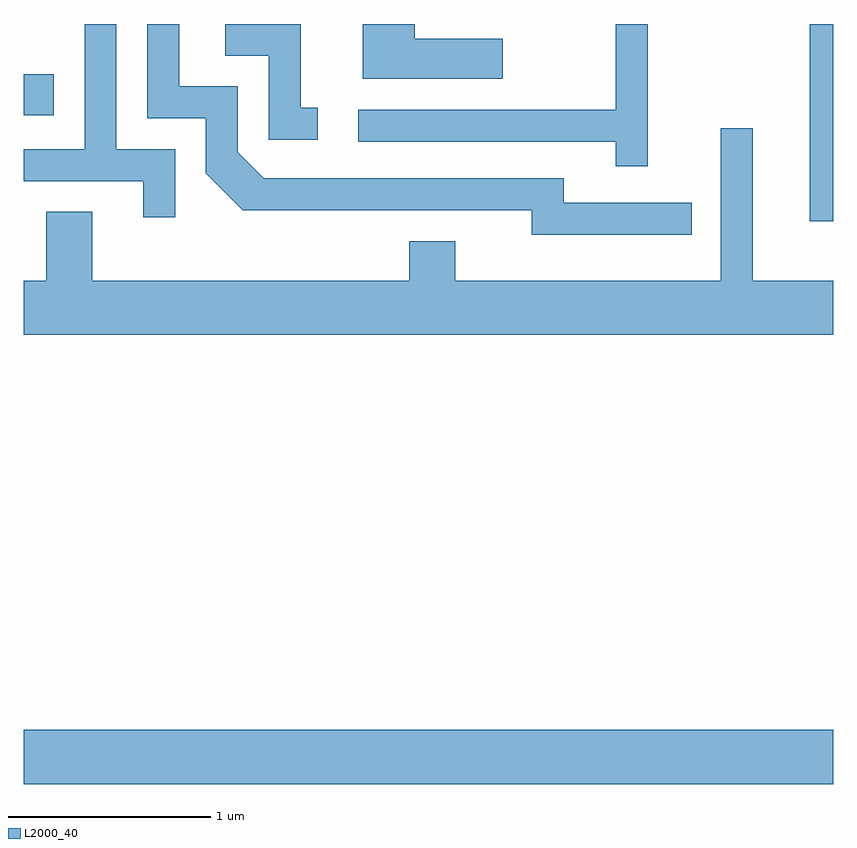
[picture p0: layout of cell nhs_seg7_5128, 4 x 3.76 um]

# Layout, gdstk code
import gdstk
lib = gdstk.Library(unit=1e-6, precision=1e-09)
def R(c, l, rs):  # rectangles x0, y0, x1, y1
    for r in rs: c.add(gdstk.rectangle(r[:2], r[2:], *l))
def P(c, l, *ps):  # polygons
    for p in ps: c.add(gdstk.Polygon(p, *l))
L2000_40 = (2000, 40)

nhs_seg7_5128 = lib.new_cell('nhs_seg7_5128')
R(nhs_seg7_5128, L2000_40, [(341.611,1756.496,345.611,1756.764), (345.496,1759.276,345.611,1760.252), (341.611,1759.801,341.759,1760.004)])
P(nhs_seg7_5128, L2000_40, [(343.063,1759.839),(342.979,1759.839),(342.979,1760.252),(342.606,1760.252),(342.606,1760.096),(342.821,1760.096),(342.821,1759.681),(343.063,1759.681)],
  [(344.913,1759.369),(344.279,1759.369),(344.279,1759.489),(342.797,1759.489),(342.669,1759.617),(342.669,1759.944),(342.379,1759.944),(342.379,1760.252),(342.221,1760.252),(342.221,1759.786),(342.511,1759.786),(342.511,1759.514),(342.694,1759.331),(344.121,1759.331),(344.121,1759.211),(344.913,1759.211)],
  [(344.694,1760.252),(344.536,1760.252),(344.536,1759.829),(343.263,1759.829),(343.263,1759.671),(344.536,1759.671),(344.536,1759.548),(344.694,1759.548)],
  [(343.979,1760.179),(343.544,1760.179),(343.544,1760.252),(343.286,1760.252),(343.286,1759.981),(343.979,1759.981)],
  [(342.359,1759.634),(342.069,1759.634),(342.069,1760.252),(341.911,1760.252),(341.911,1759.634),(341.611,1759.634),(341.611,1759.476),(342.201,1759.476),(342.201,1759.298),(342.359,1759.298)],
  [(345.611,1758.984),(345.214,1758.984),(345.214,1759.738),(345.056,1759.738),(345.056,1758.984),(343.744,1758.984),(343.744,1759.179),(343.516,1759.179),(343.516,1758.984),(341.949,1758.984),(341.949,1759.324),(341.721,1759.324),(341.721,1758.984),(341.611,1758.984),(341.611,1758.716),(345.611,1758.716)])

lib.write_gds('nhs_seg7_5128.gds')
